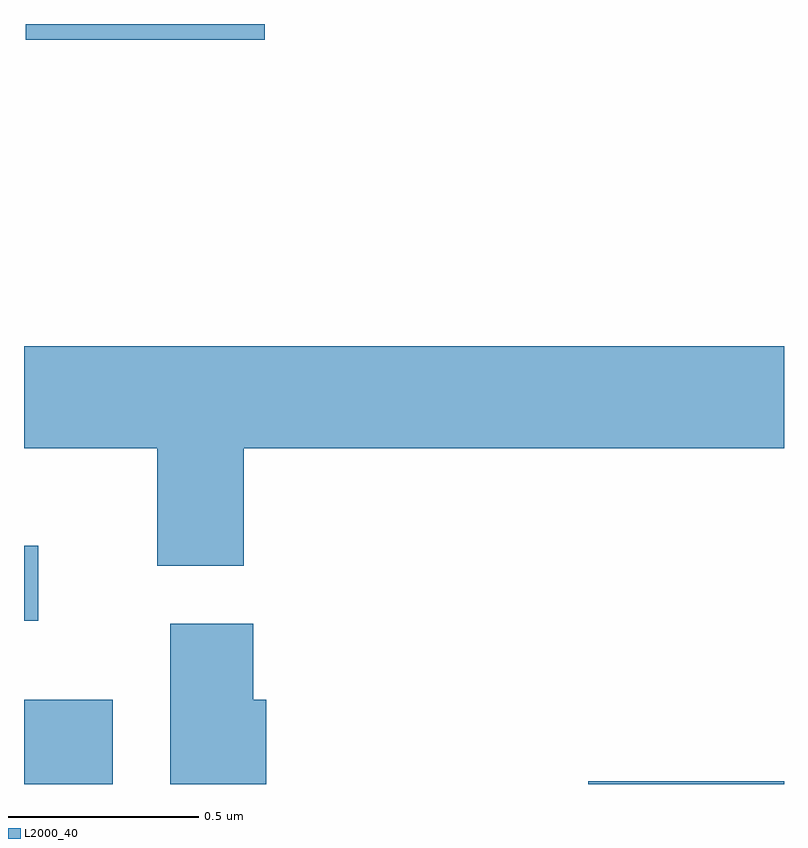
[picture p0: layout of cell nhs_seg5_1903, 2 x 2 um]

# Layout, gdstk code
import gdstk
lib = gdstk.Library(unit=1e-6, precision=1e-09)
def R(c, l, rs):  # rectangles x0, y0, x1, y1
    for r in rs: c.add(gdstk.rectangle(r[:2], r[2:], *l))
def P(c, l, *ps):  # polygons
    for p in ps: c.add(gdstk.Polygon(p, *l))
L2000_40 = (2000, 40)

nhs_seg5_1903 = lib.new_cell('nhs_seg5_1903')
R(nhs_seg5_1903, L2000_40, [(198.611,1518.072,198.844,1518.294), (200.096,1518.072,200.611,1518.079), (198.611,1518.501,198.649,1518.699), (198.616,1520.031,199.244,1520.072)])
P(nhs_seg5_1903, L2000_40, [(199.189,1518.956),(200.611,1518.956),(200.611,1519.224),(198.611,1519.224),(198.611,1518.956),(198.961,1518.956),(198.961,1518.646),(199.189,1518.646)],
  [(199.249,1518.294),(199.214,1518.294),(199.214,1518.494),(198.996,1518.494),(198.996,1518.072),(199.249,1518.072)])

lib.write_gds('nhs_seg5_1903.gds')
